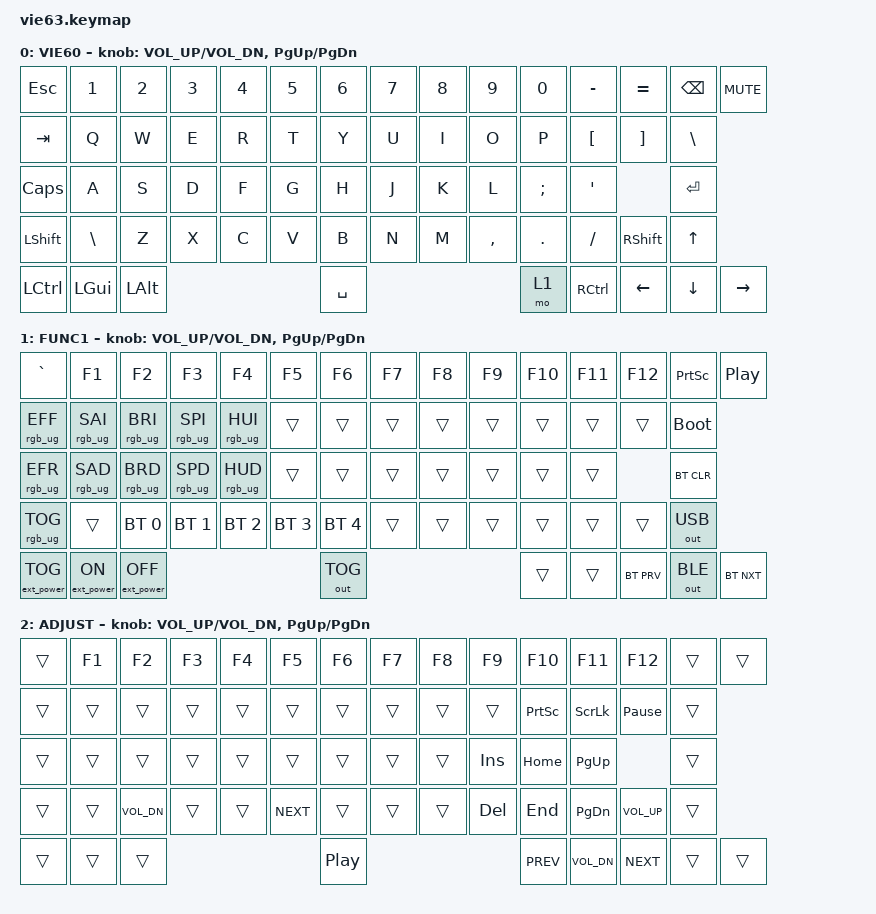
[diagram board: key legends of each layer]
/*
 * Copyright (c) 2021 Nick Winans
 *
 * SPDX-License-Identifier: MIT
 */

#include <behaviors.dtsi>
#include <dt-bindings/zmk/keys.h>
#include <dt-bindings/zmk/bt.h>
#include <dt-bindings/zmk/rgb.h>
#include <dt-bindings/zmk/outputs.h>
#include <dt-bindings/zmk/ext_power.h>

/ {
	keymap {
        compatible = "zmk,keymap";

        default_layer {
            
            label = " VIE60";
            bindings = <
        &kp ESC   &kp N1   &kp N2  &kp N3  &kp N4  &kp N5     &kp N6  &kp N7  &kp N8     &kp N9    &kp N0    &kp MINUS  &kp EQUAL  &kp BSPC  &kp C_MUTE
        &kp TAB   &kp Q    &kp W   &kp E   &kp R   &kp T      &kp Y   &kp U   &kp I      &kp O     &kp P     &kp LBKT   &kp RBKT   &kp BSLH 
        &kp CAPS  &kp A    &kp S   &kp D   &kp F   &kp G      &kp H   &kp J   &kp K      &kp L     &kp SEMI  &kp SQT               &kp RET           
        &kp LSHFT &kp BSLH &kp Z   &kp X   &kp C   &kp V   &kp B      &kp N   &kp M      &kp COMMA &kp DOT   &kp FSLH   &kp RSHFT  &kp UP 
        &kp LCTRL &kp LGUI &kp LALT                           &kp SPACE                            &mo 1     &kp RCTRL  &kp LEFT   &kp DOWN  &kp RIGHT
            >;
            sensor-bindings = <&inc_dec_kp C_VOL_UP C_VOL_DN &inc_dec_kp PG_UP PG_DN>;
        };

        lower_layer {
// -------------------------------------------------------------------------------------
// | F1  | F2  | F3  | F4  | F5  | F6  | F7  | F8  | F9  | F10 | F11 | F12 |     |
// | N1  | N2  | N3  | N4  | N5  | N6  | N7  | N8  | N9  | N0  |  -  |
// |     |     |     |     |     |     |     |     |     |     |     |
// |     |     |     |     |     |     |
            
            label = " FUNC1";
            bindings = <
        &kp GRAVE         &kp F1             &kp F2           &kp F3           &kp F4           &kp F5         &kp F6        &kp F7  &kp F8  &kp F9   &kp F10  &kp F11 &kp F12     &kp PRINTSCREEN  &kp C_PLAY_PAUSE
        &rgb_ug RGB_EFF   &rgb_ug RGB_SAI    &rgb_ug RGB_BRI  &rgb_ug RGB_SPI  &rgb_ug RGB_HUI  &trans         &trans        &trans  &trans  &trans   &trans   &trans  &trans      &bootloader         
        &rgb_ug RGB_EFR   &rgb_ug RGB_SAD    &rgb_ug RGB_BRD  &rgb_ug RGB_SPD  &rgb_ug RGB_HUD  &trans         &trans        &trans  &trans  &trans   &trans   &trans              &bt BT_CLR                     
        &rgb_ug RGB_TOG   &trans             &bt BT_SEL 0     &bt BT_SEL 1     &bt BT_SEL 2     &bt BT_SEL 3   &bt BT_SEL 4  &trans  &trans  &trans   &trans   &trans   &trans     &out OUT_USB          
        &ext_power EP_TOG &ext_power EP_ON   &ext_power EP_OFF                                                 &out OUT_TOG                           &trans   &trans  &bt BT_PRV  &out OUT_BLE     &bt BT_NXT			
>;
            sensor-bindings = <&inc_dec_kp C_VOL_UP C_VOL_DN &inc_dec_kp PG_UP PG_DN>;
        };

        adjust_layer {
// -------------------------------------------------------------------------------------
// | RGB BRI+ | RGB SAT+ | RGB HUE+ | RGB ANI+ | RGB TOG |  BT1  |  BT2  |  BT3  |  BT4  |  BT5  | BT CLR |     |     |
// | RGB BRI- | RGB SAT- | RGB HUE- | RGB ANI- |         |       |       |       |       |       |        |
// |  RESET   |          |          |          |         |       |       |       |       |       |        |
// |          |          |                 SPACE                 | BT_PRV|       | BT_NXT|
            label = "ADJUST";
            bindings = <
    &trans      &kp F1     &kp F2          &kp F3          &kp F4          &kp F5          &kp F6       &kp F7 &kp F8 &kp F9     &kp F10        &kp F11      &kp F12         &trans &trans 
	&trans      &trans     &trans          &trans          &trans          &trans          &trans       &trans &trans &trans     &kp PSCRN      &kp SLCK     &kp PAUSE_BREAK &trans 
	&trans      &trans     &trans          &trans          &trans          &trans          &trans       &trans &trans &kp INS    &kp HOME       &kp PG_UP                    &trans                 
	&trans      &trans     &kp C_VOL_DN    &trans          &trans          &kp C_NEXT      &trans       &trans &trans &kp DEL    &kp END        &kp PG_DN    &kp C_VOL_UP    &trans
	&trans      &trans     &trans                                                          &kp C_PP                              &kp C_PREV     &kp C_VOL_DN &kp K_NEXT      &trans &trans 
			>;
            sensor-bindings = <&inc_dec_kp C_VOL_UP C_VOL_DN &inc_dec_kp PG_UP PG_DN>;
        };
    };
};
